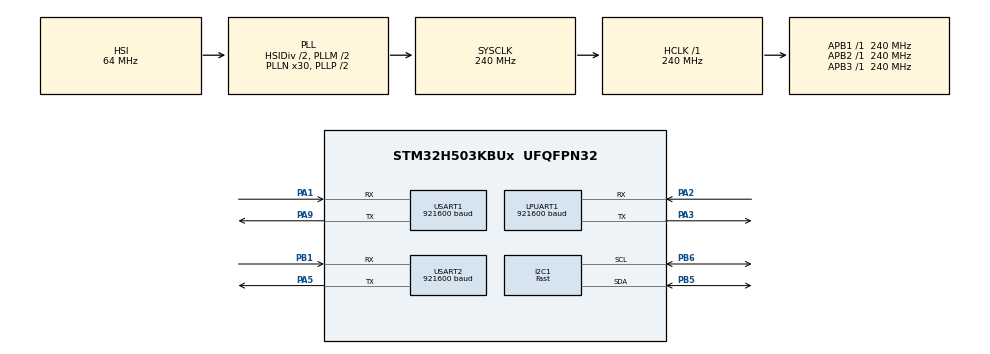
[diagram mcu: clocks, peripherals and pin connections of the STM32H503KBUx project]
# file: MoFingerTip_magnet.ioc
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BOOTPATH.BootPathName=LEGACY
BOOTPATH.UserSelectedBootPath=LEGACY
CORTEX_M33_NS.Number-Cortex_Memory_Protection_Unit_Region0_OTP_RO_AREAS_Settings=MPU_REGION_NUMBER0
CORTEX_M33_NS.default_mode_Activation=1
I2C1.I2C_Fall_Time=50
I2C1.I2C_Rise_Time=300
I2C1.I2C_Speed_Mode=I2C_Fast
I2C1.Timing=0x70B0102B
LPUART1.BaudRate=921600
Mcu.Family=STM32H5
Mcu.Name=STM32H503KBUx
Mcu.Package=UFQFPN32
NVIC.LPUART1_IRQn=true\:0\:0\:false\:false\:true\:true\:true\:true
NVIC.PriorityGroup=NVIC_PRIORITYGROUP_4
NVIC.TIM2_IRQn=true\:0\:0\:false\:false\:true\:true\:true\:true
NVIC.TIM3_IRQn=true\:0\:0\:false\:false\:true\:true\:true\:true
NVIC.USART1_IRQn=true\:0\:0\:false\:false\:true\:true\:true\:true
NVIC.USART2_IRQn=true\:0\:0\:false\:false\:true\:true\:true\:true
PA1.Mode=Asynchronous
PA1.Signal=USART1_RX
PA13(JTMS/SWDIO).Signal=DEBUG_JTMS-SWDIO
PA14(JTCK/SWCLK).Signal=DEBUG_JTCK-SWCLK
PA2.Mode=Asynchronous
PA2.Signal=LPUART1_RX
PA3.Mode=Asynchronous
PA3.Signal=LPUART1_TX
PA5.Mode=Asynchronous
PA5.Signal=USART2_TX
PA9.Mode=Asynchronous
PA9.Signal=USART1_TX
PB1.Mode=Asynchronous
PB1.Signal=USART2_RX
PB5.GPIO_Pu=GPIO_PULLUP
PB5.Mode=I2C
PB5.Signal=I2C1_SDA
PB6.GPIO_Pu=GPIO_PULLUP
PB6.Mode=I2C
PB6.Signal=I2C1_SCL
ProjectManager.HeapSize=0x200
ProjectManager.StackSize=0x400
ProjectManager.TargetToolchain=CMake
RCC.ADCFreq_Value=240000000
RCC.AHBFreq_Value=240000000
RCC.APB1Freq_Value=240000000
RCC.APB1TimFreq_Value=240000000
RCC.APB2Freq_Value=240000000
RCC.APB2TimFreq_Value=240000000
RCC.APB3Freq_Value=240000000
RCC.CSI_VALUE=4000000
RCC.CortexFreq_Value=240000000
RCC.EPOD_VALUE=32000000
RCC.HCLKFreq_Value=240000000
RCC.HSE_VALUE=25000000
RCC.HSI48_VALUE=48000000
RCC.HSI_VALUE=64000000
RCC.LSE_VALUE=32768
RCC.LSIRC_VALUE=32000
RCC.PLLM=2
RCC.PLLN=30
RCC.PLLSourceVirtual=RCC_PLL1_SOURCE_HSI
RCC.SYSCLKFreq_VALUE=240000000
RCC.SYSCLKSource=RCC_SYSCLKSOURCE_PLLCLK
RCC.USBFreq_Value=48000000
RCC.VCOOutputFreq_Value=480000000
TIM2.Period=99
TIM2.Prescaler=2399
TIM3.Prescaler=2399
USART1.BaudRate=921600
USART1.VirtualMode-Asynchronous=VM_ASYNC
USART2.BaudRate=921600
USART2.VirtualMode-Asynchronous=VM_ASYNC
VP_BOOTPATH_VS_BOOTPATH.Mode=BP_Activate
VP_CORTEX_M33_NS_VS_Hclk.Mode=Hclk_Mode
VP_ICACHE_VS_ICACHE.Mode=DirectMappedCache
VP_MEMORYMAP_VS_MEMORYMAP.Mode=CurAppReg
VP_PWR_VS_LPOM.Mode=PowerOptimisation
VP_PWR_VS_SECSignals.Mode=Security/Privilege
VP_TIM2_VS_ClockSourceINT.Mode=Internal
VP_TIM3_VS_ClockSourceINT.Mode=Internal
board=custom

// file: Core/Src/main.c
/* USER CODE BEGIN Header */
/**
  ******************************************************************************
  * @file           : main.c
  * @brief          : Main program body
  ******************************************************************************
  * @attention
  *
  * Copyright (c) 2026 STMicroelectronics.
  * All rights reserved.
  *
  * This software is licensed under terms that can be found in the LICENSE file
  * in the root directory of this software component.
  * If no LICENSE file comes with this software, it is provided AS-IS.
  *
  ******************************************************************************
  */
/* USER CODE END Header */
#include "main.h"

/* USER CODE BEGIN Includes */
#include "sensor_app.h"
#include "bsp_uart_in.h"
#include "bsp_time.h"
#include "board_config.h"

/* USER CODE END Includes */

I2C_HandleTypeDef hi2c1;

UART_HandleTypeDef hlpuart1;
UART_HandleTypeDef huart1;
UART_HandleTypeDef huart2;

TIM_HandleTypeDef htim2;
TIM_HandleTypeDef htim3;

/* USER CODE BEGIN PV */
/* LPUART1 TX DMA 句柄在 MSP 初始化中配置，并由中断处理函数转发给 HAL。 */
DMA_HandleTypeDef handle_GPDMA1_Channel0;
/* USART1 RX DMA 句柄在 MSP 初始化中配置，指腹 IN 口方案使用。 */
DMA_HandleTypeDef handle_GPDMA1_Channel1;

/* USER CODE END PV */

void SystemClock_Config(void);
static void MPU_Config(void);
static void MX_GPIO_Init(void);
static void MX_I2C1_Init(void);
static void MX_ICACHE_Init(void);
static void MX_LPUART1_UART_Init(void);
#if (BOARD_ENABLE_USART1_IN != 0u)
static void MX_USART1_UART_Init(void);
#endif
static void MX_USART2_UART_Init(void);
static void MX_TIM2_Init(void);
static void MX_TIM3_Init(void);

int main(void)
{

  /* MCU Configuration--------------------------------------------------------*/

  /* MPU Configuration--------------------------------------------------------*/
  MPU_Config();

  /* Reset of all peripherals, Initializes the Flash interface and the Systick. */
  HAL_Init();

  /* Configure the system clock */
  SystemClock_Config();

  /* Initialize all configured peripherals */
  MX_GPIO_Init();
  MX_I2C1_Init();
  MX_ICACHE_Init();
  MX_LPUART1_UART_Init();
#if (BOARD_ENABLE_USART1_IN != 0u)
  MX_USART1_UART_Init();
#endif
  MX_USART2_UART_Init();
  MX_TIM2_Init();
  MX_TIM3_Init();
  /* USER CODE BEGIN 2 */
  /* TIM2 统一驱动帧时间戳；可选 1000 Hz 固定发帧节拍。 */
  if (BspTime_Init() != APP_STATUS_OK)
  {
    Error_Handler();
  }

  /* 指腹磁铁方案启动 USART1 IN 口；指尖磁铁方案该接口为空实现。 */
  if (BspUartIn_Init() != APP_STATUS_OK)
  {
    Error_Handler();
  }

  /* 所有 CubeMX 外设就绪后再初始化当前方案启用的传感器和原始数据采集状态。 */
  SensorApp_Init();

  /* USER CODE END 2 */

  /* Infinite loop */
  while (1)
  {

    /* USER CODE BEGIN 3 */
    /* 裸机主循环持续轮询，函数内部按编译宏选择 TIM2 固定节拍或 10 ms deadline。 */
    SensorApp_Process();
  }
  /* USER CODE END 3 */
}

void SystemClock_Config(void)
{
  RCC_OscInitTypeDef RCC_OscInitStruct = {0};
  RCC_ClkInitTypeDef RCC_ClkInitStruct = {0};

  /** Configure the main internal regulator output voltage
  */
  __HAL_PWR_VOLTAGESCALING_CONFIG(PWR_REGULATOR_VOLTAGE_SCALE0);

  while(!__HAL_PWR_GET_FLAG(PWR_FLAG_VOSRDY)) {}

  /** Initializes the RCC Oscillators according to the specified parameters
  * in the RCC_OscInitTypeDef structure.
  */
  RCC_OscInitStruct.OscillatorType = RCC_OSCILLATORTYPE_HSI;
  RCC_OscInitStruct.HSIState = RCC_HSI_ON;
  RCC_OscInitStruct.HSIDiv = RCC_HSI_DIV2;
  RCC_OscInitStruct.HSICalibrationValue = RCC_HSICALIBRATION_DEFAULT;
  RCC_OscInitStruct.PLL.PLLState = RCC_PLL_ON;
  RCC_OscInitStruct.PLL.PLLSource = RCC_PLL1_SOURCE_HSI;
  RCC_OscInitStruct.PLL.PLLM = 2;
  RCC_OscInitStruct.PLL.PLLN = 30;
  RCC_OscInitStruct.PLL.PLLP = 2;
  RCC_OscInitStruct.PLL.PLLQ = 2;
  RCC_OscInitStruct.PLL.PLLR = 2;
  RCC_OscInitStruct.PLL.PLLRGE = RCC_PLL1_VCIRANGE_3;
  RCC_OscInitStruct.PLL.PLLVCOSEL = RCC_PLL1_VCORANGE_WIDE;
  RCC_OscInitStruct.PLL.PLLFRACN = 0;
  if (HAL_RCC_OscConfig(&RCC_OscInitStruct) != HAL_OK)
  {
    Error_Handler();
  }

  /** Initializes the CPU, AHB and APB buses clocks
  */
  RCC_ClkInitStruct.ClockType = RCC_CLOCKTYPE_HCLK|RCC_CLOCKTYPE_SYSCLK
                              |RCC_CLOCKTYPE_PCLK1|RCC_CLOCKTYPE_PCLK2
                              |RCC_CLOCKTYPE_PCLK3;
  RCC_ClkInitStruct.SYSCLKSource = RCC_SYSCLKSOURCE_PLLCLK;
  RCC_ClkInitStruct.AHBCLKDivider = RCC_SYSCLK_DIV1;
  RCC_ClkInitStruct.APB1CLKDivider = RCC_HCLK_DIV1;
  RCC_ClkInitStruct.APB2CLKDivider = RCC_HCLK_DIV1;
  RCC_ClkInitStruct.APB3CLKDivider = RCC_HCLK_DIV1;

  if (HAL_RCC_ClockConfig(&RCC_ClkInitStruct, FLASH_LATENCY_5) != HAL_OK)
  {
    Error_Handler();
  }

  /** Configure the programming delay
  */
  __HAL_FLASH_SET_PROGRAM_DELAY(FLASH_PROGRAMMING_DELAY_2);
}

static void MX_I2C1_Init(void)
{

  hi2c1.Instance = I2C1;
  hi2c1.Init.Timing = 0x70B0102B;
  hi2c1.Init.OwnAddress1 = 0;
  hi2c1.Init.AddressingMode = I2C_ADDRESSINGMODE_7BIT;
  hi2c1.Init.DualAddressMode = I2C_DUALADDRESS_DISABLE;
  hi2c1.Init.OwnAddress2 = 0;
  hi2c1.Init.OwnAddress2Masks = I2C_OA2_NOMASK;
  hi2c1.Init.GeneralCallMode = I2C_GENERALCALL_DISABLE;
  hi2c1.Init.NoStretchMode = I2C_NOSTRETCH_DISABLE;
  if (HAL_I2C_Init(&hi2c1) != HAL_OK)
  {
    Error_Handler();
  }

  /** Configure Analogue filter
  */
  if (HAL_I2CEx_ConfigAnalogFilter(&hi2c1, I2C_ANALOGFILTER_ENABLE) != HAL_OK)
  {
    Error_Handler();
  }

  /** Configure Digital filter
  */
  if (HAL_I2CEx_ConfigDigitalFilter(&hi2c1, 0) != HAL_OK)
  {
    Error_Handler();
  }

}

static void MX_ICACHE_Init(void)
{

  /** Enable instruction cache in 1-way (direct mapped cache)
  */
  if (HAL_ICACHE_ConfigAssociativityMode(ICACHE_1WAY) != HAL_OK)
  {
    Error_Handler();
  }
  if (HAL_ICACHE_Enable() != HAL_OK)
  {
    Error_Handler();
  }

}

static void MX_LPUART1_UART_Init(void)
{

  hlpuart1.Instance = LPUART1;
  hlpuart1.Init.BaudRate = 921600;
  hlpuart1.Init.WordLength = UART_WORDLENGTH_8B;
  hlpuart1.Init.StopBits = UART_STOPBITS_1;
  hlpuart1.Init.Parity = UART_PARITY_NONE;
  hlpuart1.Init.Mode = UART_MODE_TX_RX;
  hlpuart1.Init.HwFlowCtl = UART_HWCONTROL_NONE;
  hlpuart1.Init.OneBitSampling = UART_ONE_BIT_SAMPLE_DISABLE;
  hlpuart1.Init.ClockPrescaler = UART_PRESCALER_DIV1;
  hlpuart1.AdvancedInit.AdvFeatureInit = UART_ADVFEATURE_NO_INIT;
  hlpuart1.FifoMode = UART_FIFOMODE_DISABLE;
  if (HAL_UART_Init(&hlpuart1) != HAL_OK)
  {
    Error_Handler();
  }
  if (HAL_UARTEx_SetTxFifoThreshold(&hlpuart1, UART_TXFIFO_THRESHOLD_1_8) != HAL_OK)
  {
    Error_Handler();
  }
  if (HAL_UARTEx_SetRxFifoThreshold(&hlpuart1, UART_RXFIFO_THRESHOLD_1_8) != HAL_OK)
  {
    Error_Handler();
  }
  if (HAL_UARTEx_DisableFifoMode(&hlpuart1) != HAL_OK)
  {
    Error_Handler();
  }

}

#if (BOARD_ENABLE_USART1_IN != 0u)
static void MX_USART1_UART_Init(void)
{

  huart1.Instance = USART1;
  huart1.Init.BaudRate = 921600;
  huart1.Init.WordLength = UART_WORDLENGTH_8B;
  huart1.Init.StopBits = UART_STOPBITS_1;
  huart1.Init.Parity = UART_PARITY_NONE;
  huart1.Init.Mode = UART_MODE_TX_RX;
  huart1.Init.HwFlowCtl = UART_HWCONTROL_NONE;
  huart1.Init.OverSampling = UART_OVERSAMPLING_16;
  huart1.Init.OneBitSampling = UART_ONE_BIT_SAMPLE_DISABLE;
  huart1.Init.ClockPrescaler = UART_PRESCALER_DIV1;
  huart1.AdvancedInit.AdvFeatureInit = UART_ADVFEATURE_NO_INIT;
  if (HAL_UART_Init(&huart1) != HAL_OK)
  {
    Error_Handler();
  }
  if (HAL_UARTEx_SetTxFifoThreshold(&huart1, UART_TXFIFO_THRESHOLD_1_8) != HAL_OK)
  {
    Error_Handler();
  }
  if (HAL_UARTEx_SetRxFifoThreshold(&huart1, UART_RXFIFO_THRESHOLD_1_8) != HAL_OK)
  {
    Error_Handler();
  }
  if (HAL_UARTEx_DisableFifoMode(&huart1) != HAL_OK)
  {
    Error_Handler();
  }

}
#endif

static void MX_USART2_UART_Init(void)
{

  huart2.Instance = USART2;
  huart2.Init.BaudRate = 921600;
  huart2.Init.WordLength = UART_WORDLENGTH_8B;
  huart2.Init.StopBits = UART_STOPBITS_1;
  huart2.Init.Parity = UART_PARITY_NONE;
  huart2.Init.Mode = UART_MODE_TX_RX;
  huart2.Init.HwFlowCtl = UART_HWCONTROL_NONE;
  huart2.Init.OverSampling = UART_OVERSAMPLING_16;
  huart2.Init.OneBitSampling = UART_ONE_BIT_SAMPLE_DISABLE;
  huart2.Init.ClockPrescaler = UART_PRESCALER_DIV1;
  huart2.AdvancedInit.AdvFeatureInit = UART_ADVFEATURE_NO_INIT;
  if (HAL_UART_Init(&huart2) != HAL_OK)
  {
    Error_Handler();
  }
  if (HAL_UARTEx_SetTxFifoThreshold(&huart2, UART_TXFIFO_THRESHOLD_1_8) != HAL_OK)
  {
    Error_Handler();
  }
  if (HAL_UARTEx_SetRxFifoThreshold(&huart2, UART_RXFIFO_THRESHOLD_1_8) != HAL_OK)
  {
    Error_Handler();
  }
  if (HAL_UARTEx_DisableFifoMode(&huart2) != HAL_OK)
  {
    Error_Handler();
  }

}

static void MX_TIM2_Init(void)
{

  TIM_ClockConfigTypeDef sClockSourceConfig = {0};
  TIM_MasterConfigTypeDef sMasterConfig = {0};

  htim2.Instance = TIM2;
  htim2.Init.Prescaler = 2399;
  htim2.Init.CounterMode = TIM_COUNTERMODE_UP;
#if (BOARD_ENABLE_TIM2_1000HZ_FIXED_SEND != 0u)
  htim2.Init.Period = 99;
#else
  htim2.Init.Period = 199;
#endif
  htim2.Init.ClockDivision = TIM_CLOCKDIVISION_DIV1;
  htim2.Init.AutoReloadPreload = TIM_AUTORELOAD_PRELOAD_DISABLE;
  if (HAL_TIM_Base_Init(&htim2) != HAL_OK)
  {
    Error_Handler();
  }
  sClockSourceConfig.ClockSource = TIM_CLOCKSOURCE_INTERNAL;
  if (HAL_TIM_ConfigClockSource(&htim2, &sClockSourceConfig) != HAL_OK)
  {
    Error_Handler();
  }
  sMasterConfig.MasterOutputTrigger = TIM_TRGO_RESET;
  sMasterConfig.MasterSlaveMode = TIM_MASTERSLAVEMODE_DISABLE;
  if (HAL_TIMEx_MasterConfigSynchronization(&htim2, &sMasterConfig) != HAL_OK)
  {
    Error_Handler();
  }

}

static void MX_TIM3_Init(void)
{

  TIM_ClockConfigTypeDef sClockSourceConfig = {0};
  TIM_MasterConfigTypeDef sMasterConfig = {0};

  htim3.Instance = TIM3;
  htim3.Init.Prescaler = 2399;
  htim3.Init.CounterMode = TIM_COUNTERMODE_UP;
  htim3.Init.Period = 65535;
  htim3.Init.ClockDivision = TIM_CLOCKDIVISION_DIV1;
  htim3.Init.AutoReloadPreload = TIM_AUTORELOAD_PRELOAD_DISABLE;
  if (HAL_TIM_Base_Init(&htim3) != HAL_OK)
  {
    Error_Handler();
  }
  sClockSourceConfig.ClockSource = TIM_CLOCKSOURCE_INTERNAL;
  if (HAL_TIM_ConfigClockSource(&htim3, &sClockSourceConfig) != HAL_OK)
  {
    Error_Handler();
  }
  sMasterConfig.MasterOutputTrigger = TIM_TRGO_RESET;
  sMasterConfig.MasterSlaveMode = TIM_MASTERSLAVEMODE_DISABLE;
  if (HAL_TIMEx_MasterConfigSynchronization(&htim3, &sMasterConfig) != HAL_OK)
  {
    Error_Handler();
  }

}

static void MX_GPIO_Init(void)
{
  GPIO_InitTypeDef GPIO_InitStruct = {0};

  /* GPIO Ports Clock Enable */
  __HAL_RCC_GPIOA_CLK_ENABLE();
  __HAL_RCC_GPIOB_CLK_ENABLE();

  /*Configure GPIO pin : PA13 */
  GPIO_InitStruct.Pin = GPIO_PIN_13;
  GPIO_InitStruct.Mode = GPIO_MODE_AF_PP;
  GPIO_InitStruct.Pull = GPIO_PULLUP;
  GPIO_InitStruct.Speed = GPIO_SPEED_FREQ_LOW;
  GPIO_InitStruct.Alternate = GPIO_AF0_TRACE;
  HAL_GPIO_Init(GPIOA, &GPIO_InitStruct);

}

/* USER CODE BEGIN 4 */
/** @brief USART1 RX DMA block complete callback; only IN-enabled firmware uses it. */
void HAL_UART_RxCpltCallback(UART_HandleTypeDef *huart)
{
  if (huart == &huart1)
  {
    BspUartIn_OnRxComplete();
  }
}

/** @brief LPUART1 DMA 发送完成回调，只释放应用发送缓冲区占用状态。 */
void HAL_UART_TxCpltCallback(UART_HandleTypeDef *huart)
{
  if (huart == &hlpuart1)
  {
    SensorApp_OnUartTxComplete();
  }
}

/** @brief LPUART1 或 USART1 发生错误后的恢复入口。 */
void HAL_UART_ErrorCallback(UART_HandleTypeDef *huart)
{
  if (huart == &hlpuart1)
  {
    SensorApp_OnUartError();
  }
  if (huart == &huart1)
  {
    BspUartIn_OnError();
  }
}

/** @brief TIM2 更新回调，推进板级毫秒时间和可选固定发帧节拍。 */
void HAL_TIM_PeriodElapsedCallback(TIM_HandleTypeDef *htim)
{
  if (htim == &htim2)
  {
    BspTime_OnTim2Elapsed();
  }
}

/* USER CODE END 4 */

 /* MPU Configuration */

void MPU_Config(void)
{
  MPU_Region_InitTypeDef MPU_InitStruct = {0};
  MPU_Attributes_InitTypeDef MPU_AttributesInit = {0};

  /* Disables the MPU */
  HAL_MPU_Disable();

  /** Initializes and configures the Region 0 and the memory to be protected
  */
  MPU_InitStruct.Enable = MPU_REGION_ENABLE;
  MPU_InitStruct.Number = MPU_REGION_NUMBER0;
  MPU_InitStruct.BaseAddress = 0x08FFF000;
  MPU_InitStruct.LimitAddress = 0x08FFFFFF;
  MPU_InitStruct.AttributesIndex = MPU_ATTRIBUTES_NUMBER0;
  MPU_InitStruct.AccessPermission = MPU_REGION_ALL_RO;
  MPU_InitStruct.DisableExec = MPU_INSTRUCTION_ACCESS_DISABLE;
  MPU_InitStruct.IsShareable = MPU_ACCESS_NOT_SHAREABLE;

  HAL_MPU_ConfigRegion(&MPU_InitStruct);

  /** Initializes and configures the Attribute 0 and the memory to be protected
  */
  MPU_AttributesInit.Number = MPU_ATTRIBUTES_NUMBER0;
  MPU_AttributesInit.Attributes = INNER_OUTER(MPU_NOT_CACHEABLE);

  HAL_MPU_ConfigMemoryAttributes(&MPU_AttributesInit);
  /* Enables the MPU */
  HAL_MPU_Enable(MPU_PRIVILEGED_DEFAULT);

}

void Error_Handler(void)
{
  __disable_irq();
  while (1)
  {
  }
}
